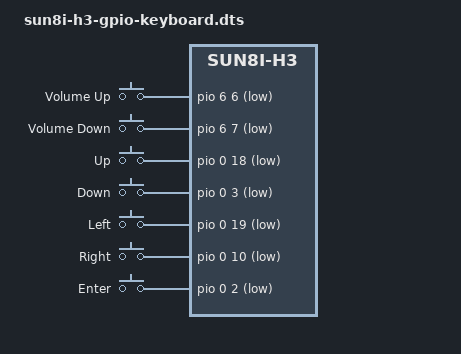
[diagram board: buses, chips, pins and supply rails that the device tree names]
/dts-v1/;
/plugin/;

/ {
    compatible = "allwinner,sun8i-h3";

    fragment@0 {
        target = <&pio>;
        __overlay__ {
            gpio_keys_pins: gpio_keys_pins {
                pins = "PG6", "PG7", "PA18", "PA3", "PA19", "PA10", "PA2";
                function = "gpio_in";
                bias-pull-up;
            };
        };
    };

    fragment@1 {
        target-path = "/";
        __overlay__ {
            gpio_keys {
                compatible = "gpio-keys";
                pinctrl-names = "default";
                pinctrl-0 = <&gpio_keys_pins>;
                autorepeat;

                volume_up {
                    label = "Volume Up";
                    linux,code = <115>;
                    gpios = <&pio 6 6 1>;
                    debounce-interval = <20>;
                };

                volume_down {
                    label = "Volume Down";
                    linux,code = <114>;
                    gpios = <&pio 6 7 1>;
                    debounce-interval = <20>;
                };

                key_up {
                    label = "Up";
                    linux,code = <103>;
                    gpios = <&pio 0 18 1>;
                    debounce-interval = <20>;
                };

                key_down {
                    label = "Down";
                    linux,code = <108>;
                    gpios = <&pio 0 3 1>;
                    debounce-interval = <20>;
                };

                key_left {
                    label = "Left";
                    linux,code = <105>;
                    gpios = <&pio 0 19 1>;
                    debounce-interval = <20>;
                };

                key_right {
                    label = "Right";
                    linux,code = <106>;
                    gpios = <&pio 0 10 1>;
                    debounce-interval = <20>;
                };

                key_enter {
                    label = "Enter";
                    linux,code = <28>;
                    gpios = <&pio 0 2 1>;
                    debounce-interval = <20>;
                };
            };
        };
    };
};
